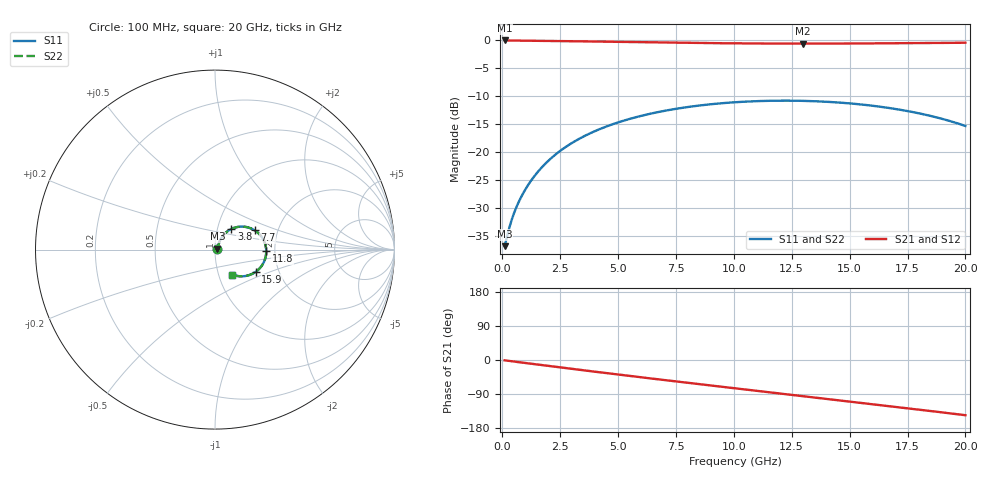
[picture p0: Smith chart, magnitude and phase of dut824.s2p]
! Touchstone file exported from HFSS 2026.1.0
!  File:  C:/ffzhzh/LocalFiles/Ansys_Project_Files/temp_train_TSV_RDL_824_1783265876_38820.aedt
!  Generated:  11:49:04 PM Jul  5, 2026
!  Design:  TSV_RDL
!  Project:  temp_train_TSV_RDL_824_1783265876_38820
! Variables:
!  h_bsmrdl = 4.81um
!  h_ox = 20um
!  h_rdl = 5um
!  h_sub = 85.22um
!  h_tmrdl = 2.64um
!  h_tsv = 85.22um
!  h_via = 3um
!  l_bsmrdl = 184.72um
!  l_sub = 2310.11um
!  l_tmrdl = 306.04um
!  m_sub = 200um
!  pitch = 32.25um
!  r_tsv = 4.35um
!  s_tmrdl = 10um
!  w_bsmrdl = 18.89um
!  w_sub = 500um
!  w_tmrdl = 25.04um
!  x_tsv_center1 = 318.56um
!  x_tsv_center2 = 522.17um
!  x_tsv_center3 = 853.25um
!  x_tsv_center4 = 1056.86um
!  x_tsv_center5 = 1387.94um
!  x_tsv_center6 = 1591.55um
# GHz S MA R 50.000000
! Terminal data exported
! Port[1] = TM_RDL1_1_T1
! Port[2] = TM_RDL5_1_T1
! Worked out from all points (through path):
!   200 points, 100 MHz to 20 GHz, reference 50 ohm
!   highest |S21| = -0.12 dB at 100 MHz (marker M1); lowest = -0.7 dB at 13 GHz (marker M2)
!   group delay of S21, straight-line fit = 20 ps
!   lowest |S11| = -36.9 dB at 100 MHz (marker M3), VSWR 1.03, Z = 51.4 + j0.516 ohm
!   |S11| at or under -10 dB: start of sweep to end of sweep
!   |S22| runs from -36.9 to -10.9 dB; largest |S21 - S12| = 3.8e-14
!   S11 on the Smith chart (normalised r, x): 100 MHz: 1.03, +0.01; 3.8 GHz: 1.16, +0.27; 7.7 GHz: 1.52, +0.35; 11.8 GHz: 1.80, -0.03; 15.9 GHz: 1.52, -0.40; 20 GHz: 1.16, -0.33
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0.1  0.01432 20.5  0.9866 -0.8  0.9866 -0.8  0.01432 20.5
! Gamma 0 0 0 0
! Port Impedance 50 0 50 0
0.4  0.02442 47.5  0.9844 -3.3  0.9844 -3.3  0.02442 47.5
0.6  0.03161 53.7  0.9832 -4.8  0.9832 -4.8  0.03161 53.7
0.9  0.04248 58.5  0.9818 -7.2  0.9818 -7.2  0.04248 58.5
1.3  0.05729 61.1  0.9802 -10.3  0.9802 -10.3  0.05729 61.1
1.8  0.07599 61.2  0.978 -14.1  0.978 -14.1  0.07599 61.2
2.3  0.09445 59.7  0.9754 -18.0  0.9754 -18.0  0.09445 59.7
3.5  0.1364 53.5  0.9682 -27.1  0.9682 -27.1  0.1364 53.5
3.8  0.1463 51.7  0.9662 -29.3  0.9662 -29.3  0.1463 51.7
5.2  0.1883 42.7  0.9566 -39.8  0.9566 -39.8  0.1883 42.7
6.8  0.2276 32.1  0.9459 -51.5  0.9459 -51.5  0.2276 32.1
7.7  0.2454 26.0  0.9405 -57.9  0.9405 -57.9  0.2454 26.0
8.9  0.2642 18.0  0.9343 -66.5  0.9343 -66.5  0.2642 18.0
10.1  0.2772 10.0  0.9295 -75.0  0.9295 -75.0  0.2772 10.0
11.8  0.2857 -1.3  0.9255 -86.9  0.9255 -86.9  0.2857 -1.3
13  0.2847 -9.3  0.9246 -95.4  0.9246 -95.4  0.2847 -9.3
13.4  0.2831 -11.9  0.9247 -98.2  0.9247 -98.2  0.2831 -11.9
14.7  0.2735 -20.5  0.926 -107.4  0.926 -107.4  0.2735 -20.5
15.9  0.2588 -28.4  0.9286 -115.9  0.9286 -115.9  0.2588 -28.4
16.7  0.246 -33.7  0.9308 -121.6  0.9308 -121.6  0.246 -33.7
18.5  0.2088 -45.5  0.9366 -134.6  0.9366 -134.6  0.2088 -45.5
20  0.1698 -55.0  0.9414 -145.7  0.9414 -145.7  0.1698 -55.0
